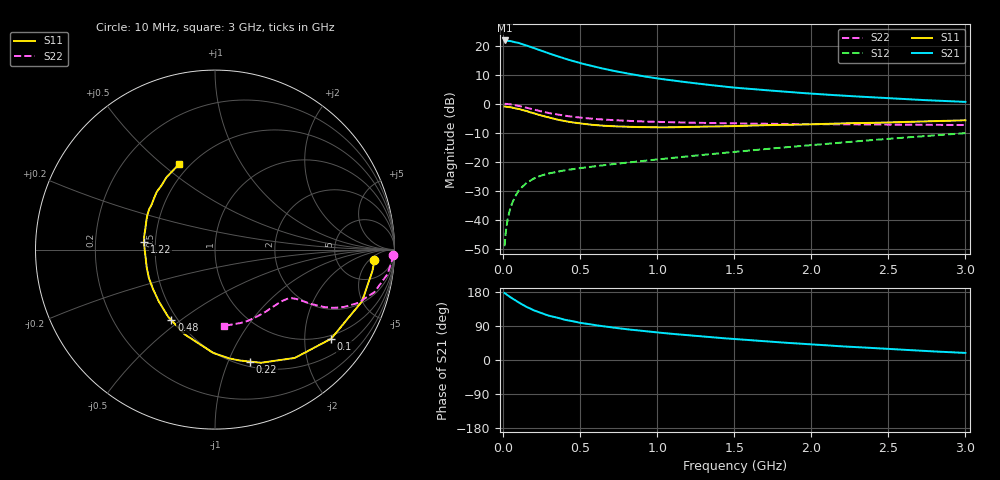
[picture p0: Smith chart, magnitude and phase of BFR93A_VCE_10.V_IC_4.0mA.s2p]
! Infineon Technologies  Discrete & RF Semiconductors
! BFR93A
! VCE =  10. V,  IC =  4.0 mA
! Common Emitter S-Parameters:  Nov 2015
# GHz  S  MA  R  50
!  f  S11  S21  S12  S22
! GHz  MAG  ANG  MAG  ANG  MAG  ANG  MAG  ANG
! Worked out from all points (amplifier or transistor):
!   180 points, 10 MHz to 3 GHz, reference 50 ohm
!   highest |S21| = 21.7 dB at 10 MHz (marker M1)
!   |S21| within 3 dB of that: start of sweep to 220 MHz
!   unconditionally stable (mu >= 1): 834.4 MHz to 2.495 GHz
!   at 160 MHz: K = 0.29, MSG = 23.5 dB, |S12| = -27.1 dB
!   at 1.22 GHz: K = 1.11, MAG = 10.6 dB, |S12| = -18.1 dB
!   at 3 GHz: K = 0.91, MSG = 5.4 dB, |S12| = -10.2 dB
!   S11 on the Smith chart (normalised r, x): 10 MHz: 13, -8; 100 MHz: 0.90, -2.68; 220 MHz: 0.55, -1.20; 480 MHz: 0.46, -0.46; 1.22 GHz: 0.43, +0.04; 3 GHz: 0.44, +0.57
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0.01  0.8906 -3.9  12.23 176.6  0.0035 87.3  0.9921 -1.7
0.015  0.8874 -5.8  12.2 175.2  0.0052 84.9  0.9904 -2.5
0.025  0.8798 -9.6  12.11 172.3  0.0085 82.3  0.9854 -4.1
0.05  0.8684 -19.4  11.91 164.9  0.0167 79.5  0.9708 -8.1
0.1  0.8158 -37.5  11.12 152.1  0.0313 70.4  0.9186 -15.0
0.15  0.7497 -53.6  10.08 140.4  0.0425 63.3  0.8514 -20.4
0.2  0.6805 -67.9  9.057 131.0  0.0512 58.4  0.7879 -23.9
0.22  0.6538 -72.6  8.656 128.0  0.0538 56.7  0.765 -24.9
0.26  0.6119 -82.4  7.93 121.8  0.0588 53.9  0.7218 -26.7
0.3  0.5758 -91.0  7.273 116.6  0.0628 52.2  0.6852 -27.8
0.4  0.5015 -109.7  5.935 106.2  0.0709 49.7  0.6165 -29.5
0.48  0.4629 -121.6  5.161 100.0  0.0761 49.3  0.5812 -30.1
0.52  0.449 -127.1  4.833 97.0  0.0786 49.3  0.5662 -30.4
0.6  0.4264 -137.1  4.273 91.7  0.0836 49.5  0.5416 -30.9
0.7  0.4092 -147.6  3.737 86.1  0.0898 50.6  0.5207 -31.6
0.84  0.3967 -160.2  3.182 79.6  0.0984 52.3  0.5001 -32.8
1.02  0.3896 -173.6  2.668 72.0  0.1104 54.1  0.4829 -35.0
1.22  0.3976 174.0  2.284 64.6  0.1251 56.0  0.4688 -38.1
1.52  0.4109 159.3  1.866 54.6  0.1487 58.0  0.4555 -43.6
2.02  0.4422 140.6  1.472 40.7  0.1948 59.3  0.4421 -55.0
2.52  0.4766 126.2  1.226 28.9  0.2496 57.8  0.4344 -68.2
3  0.5161 113.0  1.07 18.7  0.3099 54.5  0.4271 -83.5
